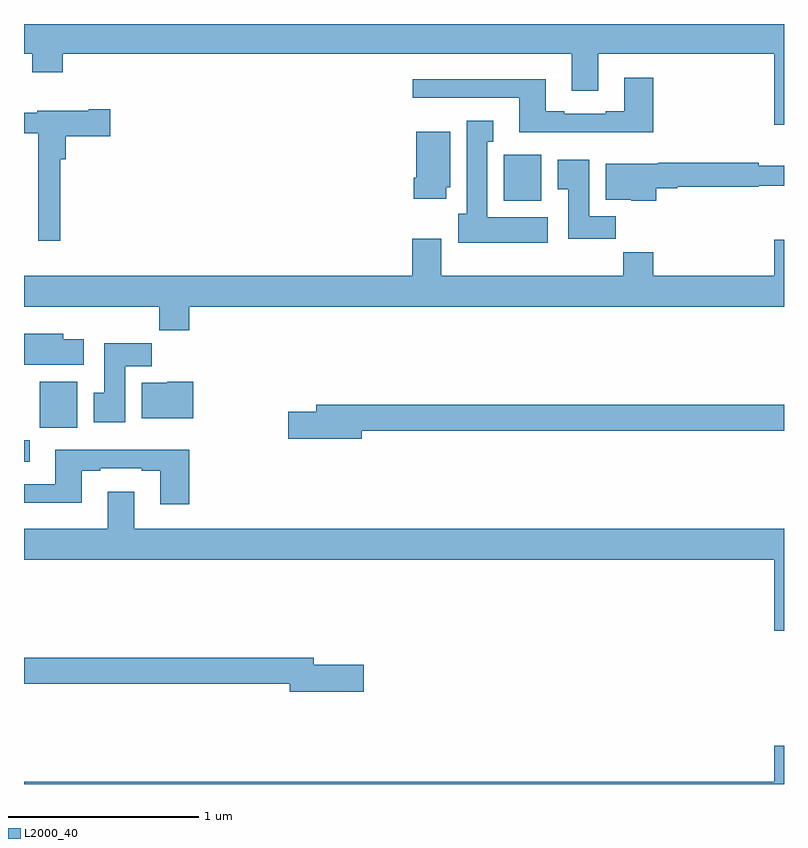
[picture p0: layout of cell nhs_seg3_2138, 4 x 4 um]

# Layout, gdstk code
import gdstk
lib = gdstk.Library(unit=1e-6, precision=1e-09)
def R(c, l, rs):  # rectangles x0, y0, x1, y1
    for r in rs: c.add(gdstk.rectangle(r[:2], r[2:], *l))
def P(c, l, *ps):  # polygons
    for p in ps: c.add(gdstk.Polygon(p, *l))
L2000_40 = (2000, 40)

nhs_seg3_2138 = lib.new_cell('nhs_seg3_2138')
R(nhs_seg3_2138, L2000_40, [(221,704.097,221.029,704.21), (221.084,704.276,221.281,704.518), (223.526,705.47,223.723,705.712)])
P(nhs_seg3_2138, L2000_40, [(225,706.4),(221,706.4),(221,706.244),(221.044,706.244),(221.044,706.145),(221.204,706.145),(221.204,706.244),(223.883,706.244),(223.883,706.05),(224.023,706.05),(224.023,706.244),(224.948,706.244),(224.948,705.87),(225,705.87)],
  [(224.312,706.117),(224.159,706.117),(224.159,705.94),(224.063,705.94),(224.063,705.927),(223.843,705.927),(223.843,705.94),(223.747,705.94),(223.747,706.108),(223.047,706.108),(223.047,706.011),(223.607,706.011),(223.607,705.83),(224.312,705.83)],
  [(221.192,705.689),(221.219,705.689),(221.219,705.809),(221.455,705.809),(221.455,705.951),(221.342,705.951),(221.342,705.943),(221.07,705.943),(221.07,705.934),(221,705.934),(221,705.824),(221.076,705.824),(221.076,705.258),(221.192,705.258)],
  [(223.756,705.382),(223.438,705.382),(223.438,705.779),(223.471,705.779),(223.471,705.892),(223.331,705.892),(223.331,705.402),(223.286,705.402),(223.286,705.248),(223.756,705.248)],
  [(223.222,705.54),(223.243,705.54),(223.243,705.832),(223.064,705.832),(223.064,705.592),(223.052,705.592),(223.052,705.48),(223.222,705.48)],
  [(224.114,705.388),(223.975,705.388),(223.975,705.685),(223.808,705.685),(223.808,705.529),(223.865,705.529),(223.865,705.27),(224.114,705.27)],
  [(224.327,705.535),(224.439,705.535),(224.439,705.543),(224.866,705.543),(224.866,705.55),(225,705.55),(225,705.653),(224.866,705.653),(224.866,705.671),(224.339,705.671),(224.339,705.664),(224.063,705.664),(224.063,705.476),(224.196,705.476),(224.196,705.47),(224.327,705.47)],
  [(221.87,704.912),(225,704.912),(225,705.265),(224.948,705.265),(224.948,705.076),(224.312,705.076),(224.312,705.2),(224.155,705.2),(224.155,705.076),(223.195,705.076),(223.195,705.271),(223.043,705.271),(223.043,705.076),(221,705.076),(221,704.912),(221.713,704.912),(221.713,704.788),(221.87,704.788)],
  [(221.314,704.74),(221.206,704.74),(221.206,704.77),(221,704.77),(221,704.606),(221.314,704.606)],
  [(221.533,704.6),(221.672,704.6),(221.672,704.719),(221.423,704.719),(221.423,704.46),(221.366,704.46),(221.366,704.304),(221.533,704.304)],
  [(221.89,704.518),(221.754,704.518),(221.754,704.512),(221.621,704.512),(221.621,704.324),(221.89,704.324)],
  [(222.778,704.26),(225,704.26),(225,704.396),(222.539,704.396),(222.539,704.36),(222.39,704.36),(222.39,704.218),(222.778,704.218)],
  [(221.87,704.158),(221.165,704.158),(221.165,703.977),(221,703.977),(221,703.88),(221.305,703.88),(221.305,704.049),(221.401,704.049),(221.401,704.061),(221.621,704.061),(221.621,704.049),(221.717,704.049),(221.717,703.872),(221.87,703.872)],
  [(225,703.744),(221.581,703.744),(221.581,703.939),(221.441,703.939),(221.441,703.744),(221,703.744),(221,703.58),(224.948,703.58),(224.948,703.206),(225,703.206)],
  [(222.787,703.028),(222.526,703.028),(222.526,703.064),(221,703.064),(221,702.928),(222.398,702.928),(222.398,702.886),(222.787,702.886)],
  [(225,702.601),(224.948,702.601),(224.948,702.412),(221,702.412),(221,702.4),(225,702.4)])

lib.write_gds('nhs_seg3_2138.gds')
